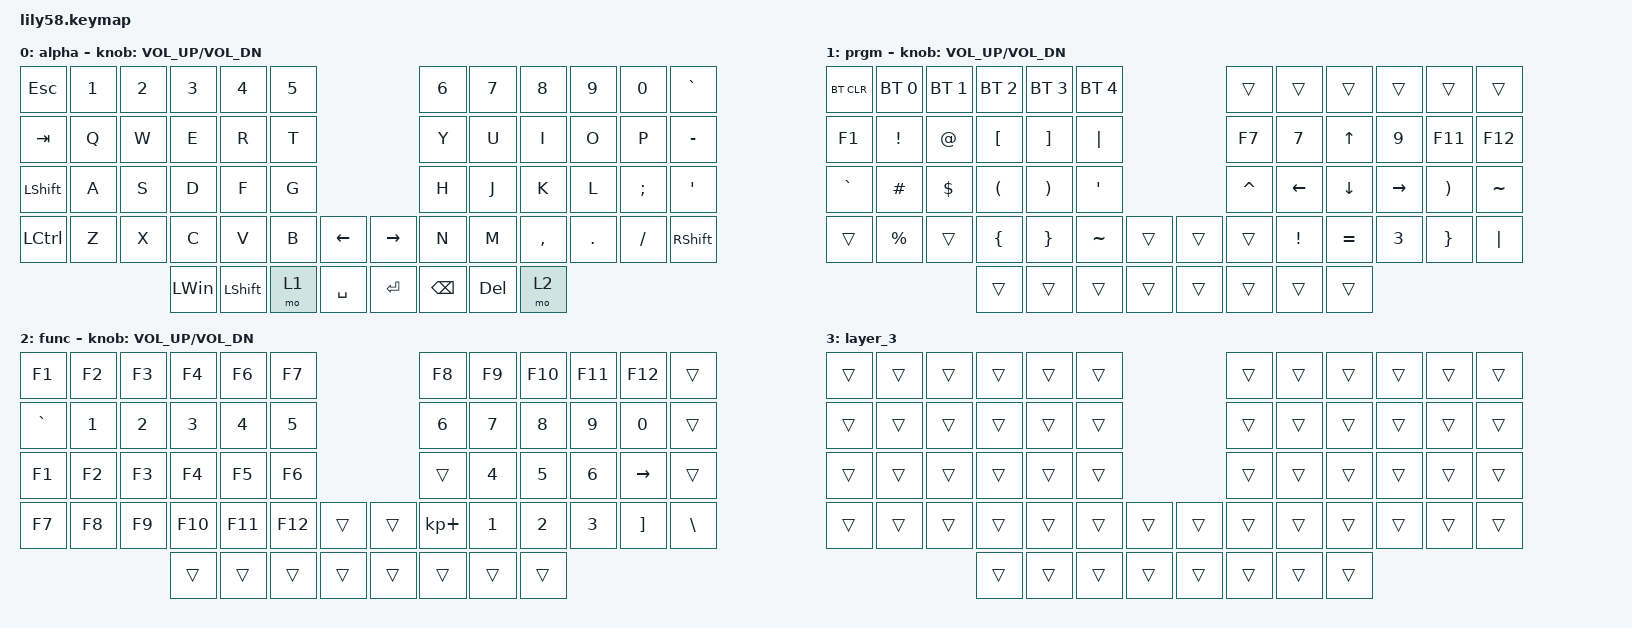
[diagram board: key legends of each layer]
/*
 * Copyright (c) 2020 The ZMK Contributors
 *
 * SPDX-License-Identifier: MIT
 */

#include <behaviors.dtsi>
#include <dt-bindings/zmk/bt.h>
#include <dt-bindings/zmk/keys.h>

/ {
    keymap {
        compatible = "zmk,keymap";

        default_layer {
            // ------------------------------------------------------------------------------------------------------------
            // |  ESC  |  1  |  2  |  3   |  4   |  5   |                   |  6   |  7    |  8    |  9   |   0   |   `   |
            // |  TAB  |  Q  |  W  |  E   |  R   |  T   |                   |  Y   |  U    |  I    |  O   |   P   |   -   |
            // |  CTRL |  A  |  S  |  D   |  F   |  G   |                   |  H   |  J    |  K    |  L   |   ;   |   '   |
            // | SHIFT |  Z  |  X  |  C   |  V   |  B   |   "["  |  |  "]"  |  N   |  M    |  ,    |  .   |   /   | SHIFT |
            //                     | ALT  | GUI  | LOWER|  SPACE |  | ENTER | RAISE| BSPC  | GUI   |

            display-name = "alpha";
            bindings = <
&kp ESC           &kp N1  &kp N2  &kp N3        &kp N4          &kp N5                               &kp N6         &kp N7      &kp N8     &kp N9   &kp N0    &kp GRAVE
&kp TAB           &kp Q   &kp W   &kp E         &kp R           &kp T                                &kp Y          &kp U       &kp I      &kp O    &kp P     &kp MINUS
&kp LEFT_SHIFT    &kp A   &kp S   &kp D         &kp F           &kp G                                &kp H          &kp J       &kp K      &kp L    &kp SEMI  &kp SQT
&kp LEFT_CONTROL  &kp Z   &kp X   &kp C         &kp V           &kp B   &kp LEFT_ARROW    &kp RIGHT  &kp N          &kp M       &kp COMMA  &kp DOT  &kp FSLH  &kp RSHFT
                                  &kp LEFT_WIN  &kp LEFT_SHIFT  &mo 1   &kp SPACE         &kp RET    &kp BACKSPACE  &kp DELETE  &mo 2
            >;

            sensor-bindings = <&inc_dec_kp C_VOL_UP C_VOL_DN>;
        };

        lower_layer {
            // ------------------------------------------------------------------------------------------------------------
            // | BTCLR | BT1 | BT2 |  BT3 |  BT4 |  BT5 |                   |      |       |       |      |       |       |
            // |  F1   |  F2 |  F3 |  F4  |  F5  |  F6  |                   |  F7  |  F8   |  F9   |  F10 |  F11  |  F12  |
            // |   `   |  !  |  @  |  #   |  $   |  %   |                   |  ^   |  &    |  *    |  (   |   )   |   ~   |
            // |       |     |     |      |      |      |        |  |       |      |  _    |  +    |  {   |   }   |  "|"  |
            //                     |      |      |      |        |  |       |      |       |       |

            display-name = "prgm";
            bindings = <
&bt BT_CLR  &bt BT_SEL 0     &bt BT_SEL 1  &bt BT_SEL 2          &bt BT_SEL 3           &bt BT_SEL 4                        &trans     &trans           &trans          &trans        &trans    &trans
&kp F1      &kp EXCLAMATION  &kp AT_SIGN   &kp LEFT_BRACKET      &kp RIGHT_BRACKET      &kp PIPE                            &kp F7     &kp N7           &kp UP_ARROW    &kp N9        &kp F11   &kp F12
&kp GRAVE   &kp HASH         &kp DOLLAR    &kp LEFT_PARENTHESIS  &kp RIGHT_PARENTHESIS  &kp SINGLE_QUOTE                    &kp CARET  &kp LEFT_ARROW   &kp DOWN_ARROW  &kp RIGHT     &kp RPAR  &kp TILDE
&trans      &kp PERCENT      &trans        &kp LEFT_BRACE        &kp RIGHT_BRACE        &kp TILDE         &trans    &trans  &trans     &kp EXCLAMATION  &kp EQUAL       &kp NUMBER_3  &kp RBRC  &kp PIPE
                                           &trans                &trans                 &trans            &trans    &trans  &trans     &trans           &trans
            >;

            sensor-bindings = <&inc_dec_kp C_VOL_UP C_VOL_DN>;
        };

        raise_layer {
            // ------------------------------------------------------------------------------------------------------------
            // |       |     |     |      |      |      |                   |      |       |       |      |       |       |
            // |   `   |  1  |  2  |  3   |  4   |  5   |                   |  6   |   7   |   8   |  9   |   0   |       |
            // |   F1  |  F2 |  F3 |  F4  |  F5  |  F6  |                   |      |   <-  |   v   |  ^   |  ->   |       |
            // |   F7  |  F8 |  F9 |  F10 |  F11 |  F12 |        |  |       |  +   |   -   |   =   |  [   |   ]   |   \   |
            //                     |      |      |      |        |  |       |      |       |       |

            display-name = "func";
            bindings = <
&kp F1     &kp F2  &kp F3  &kp F4   &kp F6   &kp F7                     &kp F8       &kp F9        &kp F10       &kp F11       &kp F12    &trans
&kp GRAVE  &kp N1  &kp N2  &kp N3   &kp N4   &kp N5                     &kp N6       &kp N7        &kp N8        &kp N9        &kp N0     &trans
&kp F1     &kp F2  &kp F3  &kp F4   &kp F5   &kp F6                     &trans       &kp NUMBER_4  &kp N5        &kp NUMBER_6  &kp RIGHT  &trans
&kp F7     &kp F8  &kp F9  &kp F10  &kp F11  &kp F12  &trans    &trans  &kp KP_PLUS  &kp NUMBER_1  &kp NUMBER_2  &kp NUMBER_3  &kp RBKT   &kp BSLH
                           &trans   &trans   &trans   &trans    &trans  &trans       &trans        &trans
            >;

            sensor-bindings = <&inc_dec_kp C_VOL_UP C_VOL_DN>;
        };

        layer_3 {
            bindings = <
&trans  &trans  &trans  &trans  &trans  &trans                    &trans  &trans  &trans  &trans  &trans  &trans
&trans  &trans  &trans  &trans  &trans  &trans                    &trans  &trans  &trans  &trans  &trans  &trans
&trans  &trans  &trans  &trans  &trans  &trans                    &trans  &trans  &trans  &trans  &trans  &trans
&trans  &trans  &trans  &trans  &trans  &trans  &trans    &trans  &trans  &trans  &trans  &trans  &trans  &trans
                        &trans  &trans  &trans  &trans    &trans  &trans  &trans  &trans
            >;
        };
    };
};
